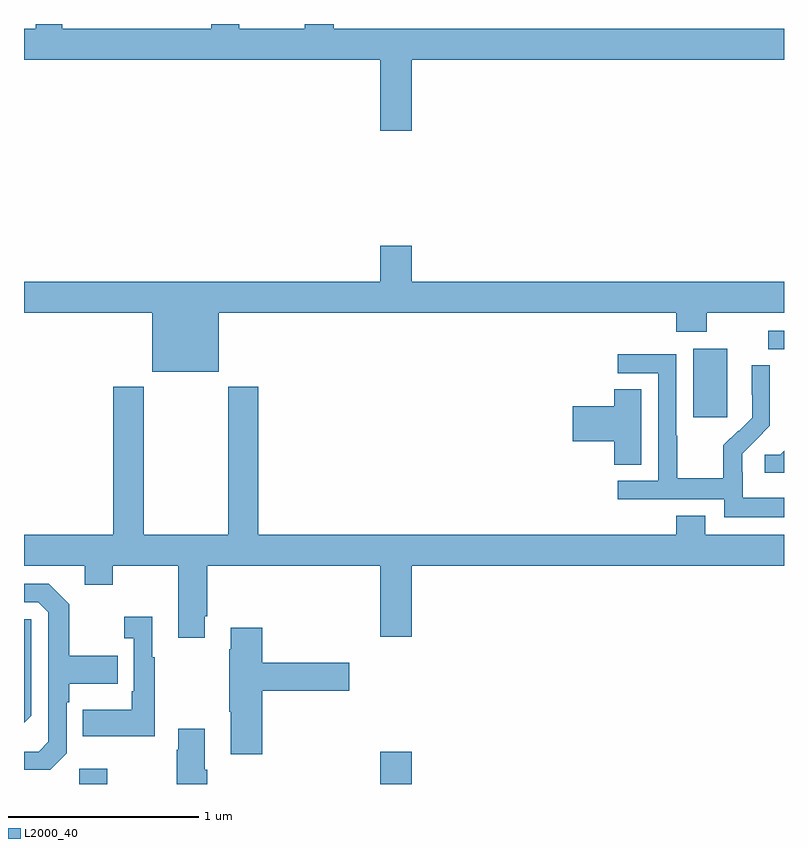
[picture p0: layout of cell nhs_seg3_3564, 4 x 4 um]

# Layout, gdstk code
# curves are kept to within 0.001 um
import gdstk
lib = gdstk.Library(unit=1e-6, precision=1e-09)
def R(c, l, rs):  # rectangles x0, y0, x1, y1
    for r in rs: c.add(gdstk.rectangle(r[:2], r[2:], *l))
def P(c, l, *ps):  # polygons
    for p in ps: c.add(gdstk.Polygon(p, *l))
L2000_40 = (2000, 40)

nhs_seg3_3564 = lib.new_cell('nhs_seg3_3564')
R(nhs_seg3_3564, L2000_40, [(295.29,734.4,295.437,734.479), (296.876,734.4,297.04,734.569), (298.523,736.329,298.702,736.69), (298.917,736.689,299,736.785)])
P(nhs_seg3_3564, L2000_40, [(297.04,738.212),(299,738.212),(299,738.376),(296.63,738.376),(296.63,738.4),(296.477,738.4),(296.477,738.376),(296.133,738.376),(296.133,738.4),(295.985,738.4),(295.985,738.376),(295.201,738.376),(295.201,738.4),(295.061,738.4),(295.061,738.376),(295,738.376),(295,738.212),(296.876,738.212),(296.876,737.838),(297.04,737.838)],
  [(296.026,736.88),(298.433,736.88),(298.433,736.781),(298.593,736.781),(298.593,736.88),(299,736.88),(299,737.044),(297.04,737.044),(297.04,737.233),(296.876,737.233),(296.876,737.044),(295,737.044),(295,736.88),(295.676,736.88),(295.676,736.571),(296.026,736.571)],
  [(299,735.907),(298.782,735.907),(298.782,736.041),(298.78,736.041),(298.78,736.138),(298.926,736.286),(298.926,736.604),(298.83,736.604),(298.83,736.45),(298.832,736.45),(298.832,736.328),(298.761,736.257),(298.758,736.26),(298.681,736.183),(298.681,736.009),(298.437,736.009),(298.437,736.232),(298.434,736.232),(298.434,736.662),(298.125,736.662),(298.125,736.563),(298.338,736.563),(298.338,735.996),(298.125,735.996),(298.125,735.9),(298.686,735.9),(298.686,735.803),(299,735.803)],
  [(295.951,735.283),(295.964,735.283),(295.964,735.548),(296.876,735.548),(296.876,735.174),(297.04,735.174),(297.04,735.548),(299,735.548),(299,735.712),(298.585,735.712),(298.585,735.811),(298.433,735.811),(298.433,735.712),(296.234,735.712),(296.234,736.492),(296.074,736.492),(296.074,735.712),(295.629,735.712),(295.629,736.492),(295.469,736.492),(295.469,735.712),(295,735.712),(295,735.548),(295.319,735.548),(295.319,735.449),(295.467,735.449),(295.467,735.548),(295.811,735.548),(295.811,735.171),(295.951,735.171)],
  [(298.249,736.478),(298.106,736.478),(298.106,736.388),(297.888,736.388),(297.888,736.205),(298.106,736.205),(298.106,736.081),(298.249,736.081)],
  [(299,736.154),(298.98,736.134),(298.899,736.134),(298.899,736.037),(299,736.037)],
  [(295.224,734.562),(295.224,734.831),(295.237,734.831),(295.237,734.927),(295.493,734.927),(295.493,735.075),(295.237,735.075),(295.237,735.347),(295.131,735.453),(295,735.453),(295,735.357),(295.074,735.357),(295.128,735.303),(295.128,734.622),(295.077,734.571),(295,734.571),(295,734.475),(295.137,734.475)],
  [(295.687,735.067),(295.675,735.067),(295.675,735.28),(295.527,735.28),(295.527,735.167),(295.578,735.167),(295.578,734.887),(295.566,734.887),(295.566,734.791),(295.309,734.791),(295.309,734.651),(295.687,734.651)],
  [(295.038,734.76),(295.038,735.267),(295,735.267),(295,734.722)],
  [(296.255,734.891),(296.713,734.891),(296.713,735.038),(296.255,735.038),(296.255,735.223),(296.087,735.223),(296.087,735.11),(296.08,735.11),(296.08,734.779),(296.087,734.779),(296.087,734.556),(296.255,734.556)],
  [(295.964,734.476),(295.951,734.476),(295.951,734.692),(295.811,734.692),(295.811,734.579),(295.804,734.579),(295.804,734.4),(295.964,734.4)])

lib.write_gds('nhs_seg3_3564.gds')
